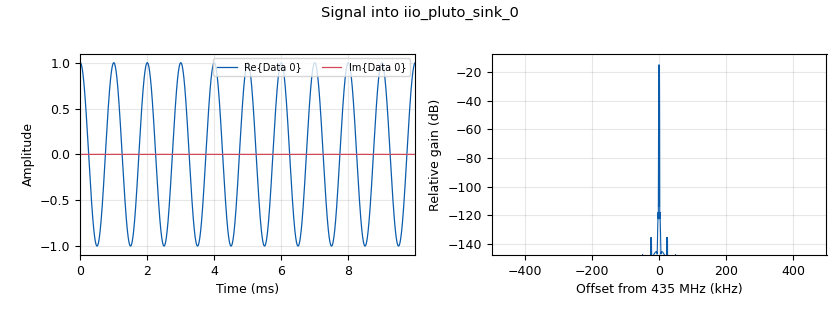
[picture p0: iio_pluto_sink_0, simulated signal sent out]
options:
  parameters:
    author: DJ2RF
    category: '[Pluto TX Tests]'
    comment: TX->RX loopback test. USE ATTENUATOR ONLY.
    description: Pluto TX tone -> external attenuator -> Pluto RX -> spectrum/waterfall
    generate_options: qt_gui
    id: tx_rx_loopback
    output_language: python
    title: TX/RX Loopback (Pluto) – ATTENUATOR ONLY
  states: {}

blocks:
- name: samp_rate
  id: variable
  parameters:
    value: '1000000'
  states: {}
- name: f0
  id: variable
  parameters:
    value: '435000000'
  states: {}
- name: tone_hz
  id: variable
  parameters:
    value: '10000'
  states: {}
- name: tx_amp
  id: variable
  parameters:
    value: '0.05'
  states: {}
- name: tx_atten
  id: variable
  parameters:
    value: '20'
  states: {}
- name: rx_gain
  id: variable
  parameters:
    value: '40'
  states: {}
- name: analog_sig_source_x_0
  id: analog_sig_source_x
  parameters:
    waveform: analog.GR_COS_WAVE
    frequency: tone_hz
    amplitude: tx_amp
    offset: '0'
    samp_rate: samp_rate
    phase: '0'
    type: float
  states: {}
- name: blocks_float_to_complex_0
  id: blocks_float_to_complex
  parameters: {}
  states: {}
- name: iio_pluto_sink_0
  id: iio_pluto_sink
  parameters:
    uri: ip:pluto.local
    samplerate: samp_rate
    bandwidth: samp_rate
    frequency: f0
    attenuation: tx_atten
    cyclic: 'False'
    buffer_size: '32768'
  states: {}
- name: iio_pluto_source_0
  id: iio_pluto_source
  parameters:
    uri: ip:pluto.local
    samplerate: samp_rate
    bandwidth: samp_rate
    frequency: f0
    gain1: '''manual'''
    manual_gain1: rx_gain
    quadrature: 'True'
    rfdc: 'True'
    bbdc: 'True'
    buffer_size: '32768'
    type: fc32
  states: {}
- name: qtgui_freq_sink_x_0
  id: qtgui_freq_sink_x
  parameters:
    type: complex
    fftsize: '2048'
    fc: f0
    bw: samp_rate
    label: RX Spectrum (Loopback)
  states: {}
- name: qtgui_waterfall_sink_x_0
  id: qtgui_waterfall_sink_x
  parameters:
    type: complex
    fftsize: '1024'
    fc: f0
    bw: samp_rate
    intensity_range: '-140,10'
    color_map: '0'
  states: {}

connections:
- [analog_sig_source_x_0, '0', blocks_float_to_complex_0, '0']
- [blocks_float_to_complex_0, '0', iio_pluto_sink_0, '0']
- [iio_pluto_source_0, '0', qtgui_freq_sink_x_0, '0']
- [iio_pluto_source_0, '0', qtgui_waterfall_sink_x_0, '0']

metadata:
  file_format: 1
  grc_version: 3.10.5.1
